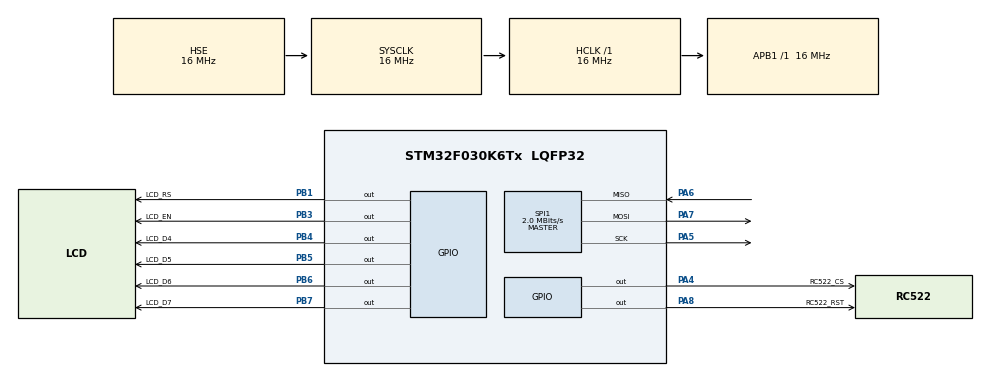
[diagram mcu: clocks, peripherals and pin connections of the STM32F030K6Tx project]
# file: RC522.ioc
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Mcu.Family=STM32F0
Mcu.Name=STM32F030K6Tx
Mcu.Package=LQFP32
PA13.Mode=Serial_Wire
PA13.Signal=SYS_SWDIO
PA14.Mode=Serial_Wire
PA14.Signal=SYS_SWCLK
PA4.GPIO_Label=RC522_CS
PA4.Signal=GPIO_Output
PA5.Mode=Full_Duplex_Master
PA5.Signal=SPI1_SCK
PA6.Mode=Full_Duplex_Master
PA6.Signal=SPI1_MISO
PA7.Mode=Full_Duplex_Master
PA7.Signal=SPI1_MOSI
PA8.GPIO_Label=RC522_RST
PA8.Signal=GPIO_Output
PB1.GPIO_Label=LCD_RS
PB1.Signal=GPIO_Output
PB3.GPIO_Label=LCD_EN
PB3.Signal=GPIO_Output
PB4.GPIO_Label=LCD_D4
PB4.Signal=GPIO_Output
PB5.GPIO_Label=LCD_D5
PB5.Signal=GPIO_Output
PB6.GPIO_Label=LCD_D6
PB6.Signal=GPIO_Output
PB7.GPIO_Label=LCD_D7
PB7.Signal=GPIO_Output
PF0-OSC_IN.Mode=HSE-External-Oscillator
PF0-OSC_IN.Signal=RCC_OSC_IN
PF1-OSC_OUT.Mode=HSE-External-Oscillator
PF1-OSC_OUT.Signal=RCC_OSC_OUT
ProjectManager.HeapSize=0x200
ProjectManager.StackSize=0x400
ProjectManager.TargetToolchain=STM32CubeIDE
RCC.AHBFreq_Value=16000000
RCC.APB1Freq_Value=16000000
RCC.APB1TimFreq_Value=16000000
RCC.HCLKFreq_Value=16000000
RCC.HSE_VALUE=16000000
RCC.PLLSourceVirtual=RCC_PLLSOURCE_HSE
RCC.SYSCLKFreq_VALUE=16000000
RCC.SYSCLKSource=RCC_SYSCLKSOURCE_HSE
SPI1.BaudRatePrescaler=SPI_BAUDRATEPRESCALER_8
SPI1.CalculateBaudRate=2.0 MBits/s
SPI1.DataSize=SPI_DATASIZE_8BIT
SPI1.Direction=SPI_DIRECTION_2LINES
SPI1.Mode=SPI_MODE_MASTER
SPI1.VirtualType=VM_MASTER
board=custom

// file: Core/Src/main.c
/* USER CODE BEGIN Header */
/**
  ******************************************************************************
  * @file           : main.c
  * @brief          : Main program body
  ******************************************************************************
  * @attention
  *
  * Copyright (c) 2022 STMicroelectronics.
  * All rights reserved.
  *
  * This software is licensed under terms that can be found in the LICENSE file
  * in the root directory of this software component.
  * If no LICENSE file comes with this software, it is provided AS-IS.
  *
  ******************************************************************************
  */
/* USER CODE END Header */
#include "main.h"

/* USER CODE BEGIN Includes */
#include "lcd.h"
#include "rc522.h"
/* USER CODE END Includes */

/* USER CODE BEGIN PD */
u_char status = 0;
u_char cardstr[MAX_LEN+1];
uint16_t result = 0;
/* USER CODE END PD */

 SPI_HandleTypeDef hspi1;

void SystemClock_Config(void);
static void MX_GPIO_Init(void);
static void MX_SPI1_Init(void);

int main(void)
{

  /* MCU Configuration--------------------------------------------------------*/

  /* Reset of all peripherals, Initializes the Flash interface and the Systick. */
  HAL_Init();

  /* Configure the system clock */
  SystemClock_Config();

  /* Initialize all configured peripherals */
  MX_GPIO_Init();
  MX_SPI1_Init();
  /* USER CODE BEGIN 2 */
  HAL_GPIO_WritePin(RC522_RST_GPIO_Port, RC522_RST_Pin, GPIO_PIN_SET);
  HAL_Delay(100);
  MFRC522_Init();
  lcdInit(_LCD_4BIT,_LCD_FONT_5x8,_LCD_2LINE);
  lcdClear();
  lcdPrint(1,1,"ONUR BiLKE");
  lcdPrint(2,1,"STM32 EXAMPLES");

  status = Read_MFRC522(VersionReg);

  for (int i = 0; i < 16; i++)
  {
	  cardstr[i] = 0;
  }

  /* USER CODE END 2 */

  /* Infinite loop */
  while (1)
  {

    /* USER CODE BEGIN 3 */
	status = MFRC522_Request(PICC_REQIDL, cardstr);
	status = MFRC522_Anticoll(cardstr);

	if(status == MI_OK)
	{
		if(cardstr[0]==41 && cardstr[1]==7 && cardstr[2]==181 && cardstr[3]==177)
		{
			lcdClear();
			lcdPrint(1,1,"CORRECT CARD");
		}
		else
		{
			lcdClear();
			lcdPrint(1,1,"WRONG CARD");
		}
	}
  }
  /* USER CODE END 3 */
}

void SystemClock_Config(void)
{
  RCC_OscInitTypeDef RCC_OscInitStruct = {0};
  RCC_ClkInitTypeDef RCC_ClkInitStruct = {0};

  /** Initializes the RCC Oscillators according to the specified parameters
  * in the RCC_OscInitTypeDef structure.
  */
  RCC_OscInitStruct.OscillatorType = RCC_OSCILLATORTYPE_HSE;
  RCC_OscInitStruct.HSEState = RCC_HSE_ON;
  RCC_OscInitStruct.PLL.PLLState = RCC_PLL_NONE;
  if (HAL_RCC_OscConfig(&RCC_OscInitStruct) != HAL_OK)
  {
    Error_Handler();
  }

  /** Initializes the CPU, AHB and APB buses clocks
  */
  RCC_ClkInitStruct.ClockType = RCC_CLOCKTYPE_HCLK|RCC_CLOCKTYPE_SYSCLK
                              |RCC_CLOCKTYPE_PCLK1;
  RCC_ClkInitStruct.SYSCLKSource = RCC_SYSCLKSOURCE_HSE;
  RCC_ClkInitStruct.AHBCLKDivider = RCC_SYSCLK_DIV1;
  RCC_ClkInitStruct.APB1CLKDivider = RCC_HCLK_DIV1;

  if (HAL_RCC_ClockConfig(&RCC_ClkInitStruct, FLASH_LATENCY_0) != HAL_OK)
  {
    Error_Handler();
  }
}

static void MX_SPI1_Init(void)
{

  /* SPI1 parameter configuration*/
  hspi1.Instance = SPI1;
  hspi1.Init.Mode = SPI_MODE_MASTER;
  hspi1.Init.Direction = SPI_DIRECTION_2LINES;
  hspi1.Init.DataSize = SPI_DATASIZE_8BIT;
  hspi1.Init.CLKPolarity = SPI_POLARITY_LOW;
  hspi1.Init.CLKPhase = SPI_PHASE_1EDGE;
  hspi1.Init.NSS = SPI_NSS_SOFT;
  hspi1.Init.BaudRatePrescaler = SPI_BAUDRATEPRESCALER_8;
  hspi1.Init.FirstBit = SPI_FIRSTBIT_MSB;
  hspi1.Init.TIMode = SPI_TIMODE_DISABLE;
  hspi1.Init.CRCCalculation = SPI_CRCCALCULATION_DISABLE;
  hspi1.Init.CRCPolynomial = 7;
  hspi1.Init.CRCLength = SPI_CRC_LENGTH_DATASIZE;
  hspi1.Init.NSSPMode = SPI_NSS_PULSE_ENABLE;
  if (HAL_SPI_Init(&hspi1) != HAL_OK)
  {
    Error_Handler();
  }

}

static void MX_GPIO_Init(void)
{
  GPIO_InitTypeDef GPIO_InitStruct = {0};

  /* GPIO Ports Clock Enable */
  __HAL_RCC_GPIOF_CLK_ENABLE();
  __HAL_RCC_GPIOA_CLK_ENABLE();
  __HAL_RCC_GPIOB_CLK_ENABLE();

  /*Configure GPIO pin Output Level */
  HAL_GPIO_WritePin(GPIOA, RC522_CS_Pin|RC522_RST_Pin, GPIO_PIN_RESET);

  /*Configure GPIO pin Output Level */
  HAL_GPIO_WritePin(GPIOB, LCD_RS_Pin|LCD_EN_Pin|LCD_D4_Pin|LCD_D5_Pin
                          |LCD_D6_Pin|LCD_D7_Pin, GPIO_PIN_RESET);

  /*Configure GPIO pins : RC522_CS_Pin RC522_RST_Pin */
  GPIO_InitStruct.Pin = RC522_CS_Pin|RC522_RST_Pin;
  GPIO_InitStruct.Mode = GPIO_MODE_OUTPUT_PP;
  GPIO_InitStruct.Pull = GPIO_NOPULL;
  GPIO_InitStruct.Speed = GPIO_SPEED_FREQ_LOW;
  HAL_GPIO_Init(GPIOA, &GPIO_InitStruct);

  /*Configure GPIO pins : LCD_RS_Pin LCD_EN_Pin LCD_D4_Pin LCD_D5_Pin
                           LCD_D6_Pin LCD_D7_Pin */
  GPIO_InitStruct.Pin = LCD_RS_Pin|LCD_EN_Pin|LCD_D4_Pin|LCD_D5_Pin
                          |LCD_D6_Pin|LCD_D7_Pin;
  GPIO_InitStruct.Mode = GPIO_MODE_OUTPUT_PP;
  GPIO_InitStruct.Pull = GPIO_NOPULL;
  GPIO_InitStruct.Speed = GPIO_SPEED_FREQ_LOW;
  HAL_GPIO_Init(GPIOB, &GPIO_InitStruct);

}

void Error_Handler(void)
{
  __disable_irq();
  while (1)
  {
  }
}
